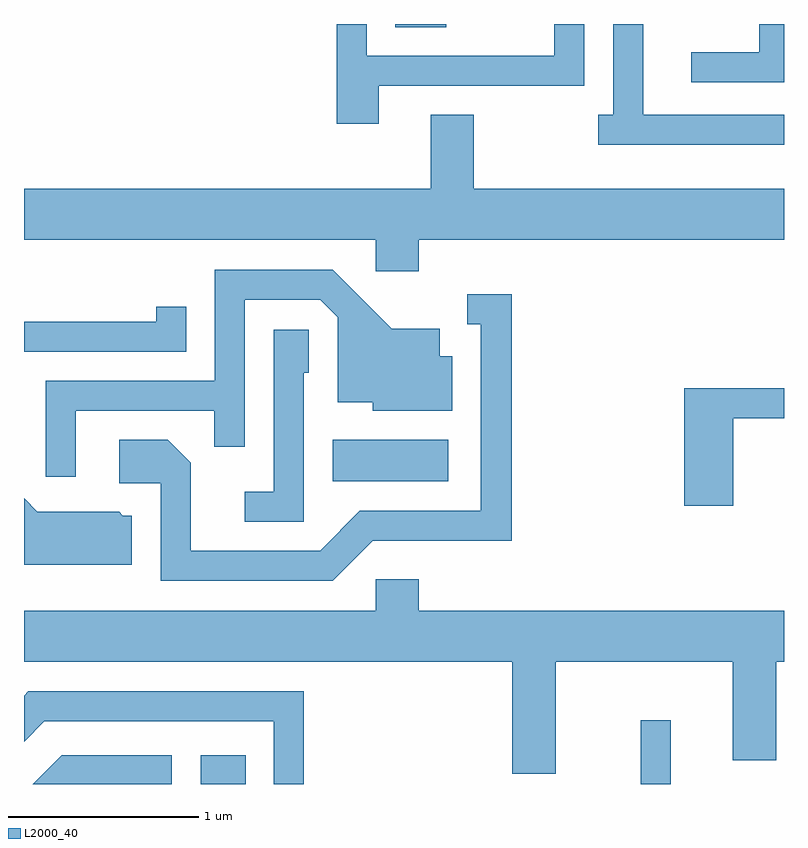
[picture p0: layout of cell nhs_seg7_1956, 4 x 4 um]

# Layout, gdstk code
import gdstk
lib = gdstk.Library(unit=1e-6, precision=1e-09)
def R(c, l, rs):  # rectangles x0, y0, x1, y1
    for r in rs: c.add(gdstk.rectangle(r[:2], r[2:], *l))
def P(c, l, *ps):  # polygons
    for p in ps: c.add(gdstk.Polygon(p, *l))
L2000_40 = (2000, 40)

nhs_seg7_1956 = lib.new_cell('nhs_seg7_1956')
R(nhs_seg7_1956, L2000_40, [(244.541,1800.252,244.778,1800.404), (246.856,1800.252,247.014,1800.588), (245.236,1801.846,245.844,1802.064), (245.566,1804.236,245.834,1804.252)])
P(nhs_seg7_1956, L2000_40, [(247.611,1804.252),(247.481,1804.252),(247.481,1804.104),(247.123,1804.104),(247.123,1803.946),(247.611,1803.946)],
  [(247.611,1803.774),(246.869,1803.774),(246.869,1804.252),(246.711,1804.252),(246.711,1803.774),(246.633,1803.774),(246.633,1803.616),(247.611,1803.616)],
  [(245.479,1803.926),(246.559,1803.926),(246.559,1804.252),(246.401,1804.252),(246.401,1804.084),(245.414,1804.084),(245.414,1804.252),(245.256,1804.252),(245.256,1803.726),(245.479,1803.726)],
  [(245.689,1803.116),(247.611,1803.116),(247.611,1803.384),(245.979,1803.384),(245.979,1803.774),(245.751,1803.774),(245.751,1803.384),(243.611,1803.384),(243.611,1803.116),(245.461,1803.116),(245.461,1802.951),(245.689,1802.951)],
  [(243.884,1802.216),(244.611,1802.216),(244.611,1802.028),(244.774,1802.028),(244.774,1802.801),(245.169,1802.801),(245.261,1802.709),(245.261,1802.261),(245.446,1802.261),(245.446,1802.216),(245.864,1802.216),(245.864,1802.504),(245.799,1802.504),(245.799,1802.649),(245.547,1802.649),(245.237,1802.959),(244.616,1802.959),(244.616,1802.374),(243.726,1802.374),(243.726,1801.868),(243.884,1801.868)],
  [(245.447,1801.531),(246.179,1801.531),(246.179,1802.829),(245.943,1802.829),(245.943,1802.671),(246.016,1802.671),(246.016,1801.689),(245.379,1801.689),(245.169,1801.479),(244.489,1801.479),(244.489,1801.942),(244.367,1802.064),(244.111,1802.064),(244.111,1801.836),(244.331,1801.836),(244.331,1801.321),(245.237,1801.321)],
  [(244.464,1802.763),(244.306,1802.763),(244.306,1802.684),(243.611,1802.684),(243.611,1802.526),(244.464,1802.526)],
  [(245.084,1802.416),(245.109,1802.416),(245.109,1802.644),(244.926,1802.644),(244.926,1801.789),(244.773,1801.789),(244.773,1801.631),(245.084,1801.631)],
  [(247.344,1802.176),(247.611,1802.176),(247.611,1802.334),(247.086,1802.334),(247.086,1801.716),(247.344,1801.716)],
  [(244.179,1801.664),(244.132,1801.664),(244.112,1801.684),(243.682,1801.684),(243.611,1801.755),(243.611,1801.406),(244.179,1801.406)],
  [(246.409,1800.896),(247.341,1800.896),(247.341,1800.376),(247.569,1800.376),(247.569,1800.896),(247.611,1800.896),(247.611,1801.164),(245.689,1801.164),(245.689,1801.329),(245.461,1801.329),(245.461,1801.164),(243.611,1801.164),(243.611,1800.896),(246.181,1800.896),(246.181,1800.306),(246.409,1800.306)],
  [(245.084,1800.739),(243.634,1800.739),(243.611,1800.716),(243.611,1800.475),(243.717,1800.581),(244.926,1800.581),(244.926,1800.252),(245.084,1800.252)],
  [(244.389,1800.404),(243.809,1800.404),(243.657,1800.252),(244.389,1800.252)])

lib.write_gds('nhs_seg7_1956.gds')
